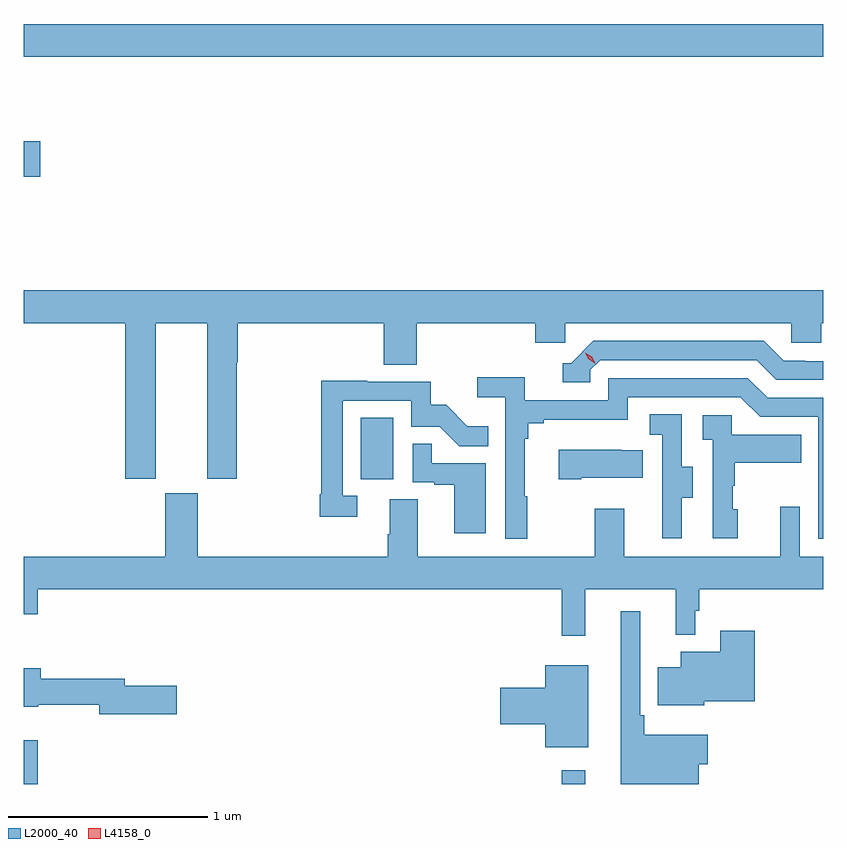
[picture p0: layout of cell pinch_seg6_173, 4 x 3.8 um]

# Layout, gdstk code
import gdstk
lib = gdstk.Library(unit=1e-6, precision=1e-09)
def R(c, l, rs):  # rectangles x0, y0, x1, y1
    for r in rs: c.add(gdstk.rectangle(r[:2], r[2:], *l))
def P(c, l, *ps):  # polygons
    for p in ps: c.add(gdstk.Polygon(p, *l))
L2000_40 = (2000, 40)
L4158_0 = (4158, 0)

pinch_seg6_173 = lib.new_cell('pinch_seg6_173')
R(pinch_seg6_173, L2000_40, [(1042.089,922.386,1042.16,922.606), (1044.781,922.386,1044.898,922.456), (1043.774,923.91,1043.938,924.217), (1042.089,925.424,1042.171,925.602), (1042.089,926.024,1046.089,926.188)])
P(pinch_seg6_173, L2000_40, [(1042.75,924.692),(1043.006,924.692),(1043.006,923.913),(1043.154,923.913),(1043.154,924.496),(1043.159,924.496),(1043.159,924.692),(1043.891,924.692),(1043.891,924.484),(1044.055,924.484),(1044.055,924.692),(1044.647,924.692),(1044.647,924.594),(1044.798,924.594),(1044.798,924.692),(1045.929,924.692),(1045.929,924.594),(1046.079,924.594),(1046.079,924.692),(1046.089,924.692),(1046.089,924.856),(1042.089,924.856),(1042.089,924.692),(1042.598,924.692),(1042.598,923.913),(1042.75,923.913)],
  [(1044.924,924.459),(1044.972,924.507),(1045.755,924.507),(1045.854,924.408),(1046.089,924.408),(1046.089,924.501),(1045.998,924.501),(1045.998,924.504),(1045.891,924.504),(1045.792,924.603),(1044.939,924.603),(1044.828,924.492),(1044.785,924.492),(1044.785,924.396),(1044.924,924.396)],
  [(1044.607,923.825),(1044.595,923.825),(1044.595,924.113),(1044.614,924.113),(1044.614,924.19),(1044.691,924.19),(1044.691,924.209),(1045.11,924.209),(1045.11,924.321),(1045.674,924.321),(1045.773,924.222),(1046.064,924.222),(1046.064,923.613),(1046.089,923.613),(1046.089,924.318),(1045.81,924.318),(1045.711,924.417),(1045.014,924.417),(1045.014,924.306),(1044.596,924.306),(1044.596,924.422),(1044.357,924.422),(1044.357,924.32),(1044.498,924.32),(1044.498,923.613),(1044.607,923.613)],
  [(1043.757,923.829),(1043.685,923.829),(1043.685,924.303),(1044.027,924.303),(1044.027,924.174),(1044.171,924.174),(1044.269,924.076),(1044.413,924.076),(1044.413,924.175),(1044.309,924.175),(1044.202,924.282),(1044.126,924.282),(1044.126,924.399),(1043.807,924.399),(1043.807,924.404),(1043.577,924.404),(1043.577,923.836),(1043.569,923.836),(1043.569,923.724),(1043.757,923.724)],
  [(1045.381,923.818),(1045.435,923.818),(1045.435,923.973),(1045.38,923.973),(1045.38,924.236),(1045.221,924.236),(1045.221,924.133),(1045.284,924.133),(1045.284,923.829),(1045.283,923.829),(1045.283,923.616),(1045.381,923.616)],
  [(1045.66,923.76),(1045.635,923.76),(1045.635,923.879),(1045.645,923.879),(1045.645,923.993),(1045.979,923.993),(1045.979,924.133),(1045.632,924.133),(1045.632,924.231),(1045.485,924.231),(1045.485,924.107),(1045.536,924.107),(1045.536,923.616),(1045.66,923.616)],
  [(1044.4,923.991),(1044.131,923.991),(1044.131,924.089),(1044.036,924.089),(1044.036,923.895),(1044.143,923.895),(1044.143,923.883),(1044.242,923.883),(1044.242,923.64),(1044.4,923.64)],
  [(1044.877,923.918),(1045.187,923.918),(1045.187,924.055),(1045.079,924.055),(1045.079,924.058),(1044.765,924.058),(1044.765,923.911),(1044.877,923.911)],
  [(1046.089,923.524),(1045.971,923.524),(1045.971,923.773),(1045.874,923.773),(1045.874,923.524),(1045.093,923.524),(1045.093,923.764),(1044.946,923.764),(1044.946,923.524),(1044.061,923.524),(1044.061,923.81),(1043.921,923.81),(1043.921,923.636),(1043.909,923.636),(1043.909,923.524),(1042.96,923.524),(1042.96,923.841),(1042.796,923.841),(1042.796,923.524),(1042.089,923.524),(1042.089,923.236),(1042.16,923.236),(1042.16,923.36),(1044.781,923.36),(1044.781,923.127),(1044.899,923.127),(1044.899,923.36),(1045.352,923.36),(1045.352,923.132),(1045.449,923.132),(1045.449,923.253),(1045.469,923.253),(1045.469,923.36),(1046.089,923.36)],
  [(1045.466,922.486),(1045.51,922.486),(1045.51,922.633),(1045.193,922.633),(1045.193,922.729),(1045.173,922.729),(1045.173,923.251),(1045.076,923.251),(1045.076,922.386),(1045.466,922.386)],
  [(1045.494,922.799),(1045.745,922.799),(1045.745,923.152),(1045.574,923.152),(1045.574,923.047),(1045.376,923.047),(1045.376,922.969),(1045.262,922.969),(1045.262,922.781),(1045.494,922.781)],
  [(1044.913,922.981),(1044.698,922.981),(1044.698,922.868),(1044.474,922.868),(1044.474,922.685),(1044.698,922.685),(1044.698,922.571),(1044.913,922.571)],
  [(1042.855,922.878),(1042.594,922.878),(1042.594,922.912),(1042.175,922.912),(1042.175,922.966),(1042.089,922.966),(1042.089,922.772),(1042.162,922.772),(1042.162,922.783),(1042.466,922.783),(1042.466,922.736),(1042.855,922.736)])
P(pinch_seg6_173, L4158_0, [(1044.946,924.492),(1044.916,924.511),(1044.899,924.543),(1044.899,924.544),(1044.899,924.544),(1044.93,924.524),(1044.947,924.492),(1044.947,924.492)])

lib.write_gds('pinch_seg6_173.gds')
